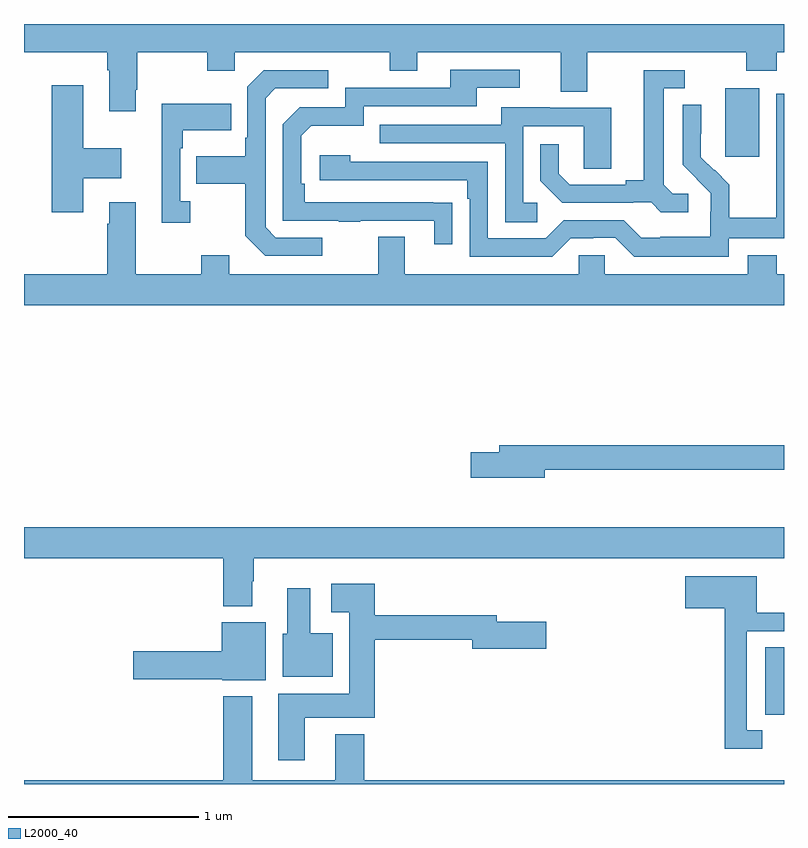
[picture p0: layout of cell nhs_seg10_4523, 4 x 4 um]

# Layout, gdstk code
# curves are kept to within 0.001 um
import gdstk
lib = gdstk.Library(unit=1e-6, precision=1e-09)
def R(c, l, rs):  # rectangles x0, y0, x1, y1
    for r in rs: c.add(gdstk.rectangle(r[:2], r[2:], *l))
def P(c, l, *ps):  # polygons
    for p in ps: c.add(gdstk.Polygon(p, *l))
L2000_40 = (2000, 40)

nhs_seg10_4523 = lib.new_cell('nhs_seg10_4523')
R(nhs_seg10_4523, L2000_40, [(372.902,1260.864,373,1261.22), (372.692,1263.801,372.871,1264.162)])
P(nhs_seg10_4523, L2000_40, [(369.589,1264.153),(369.597,1264.153),(369.597,1264.352),(369.964,1264.352),(369.964,1264.253),(370.11,1264.253),(370.11,1264.352),(370.924,1264.352),(370.924,1264.253),(371.071,1264.253),(371.071,1264.352),(371.825,1264.352),(371.825,1264.144),(371.965,1264.144),(371.965,1264.352),(372.802,1264.352),(372.802,1264.253),(372.962,1264.253),(372.962,1264.352),(373,1264.352),(373,1264.5),(369,1264.5),(369,1264.352),(369.437,1264.352),(369.437,1264.256),(369.449,1264.256),(369.449,1264.041),(369.589,1264.041)],
  [(371.255,1263.56),(370.478,1263.561),(370.478,1263.658),(370.458,1263.658),(370.458,1263.912),(370.511,1263.965),(370.788,1263.965),(370.788,1264.068),(371.383,1264.068),(371.383,1264.164),(371.608,1264.164),(371.608,1264.26),(371.243,1264.26),(371.243,1264.164),(370.692,1264.164),(370.692,1264.062),(370.452,1264.062),(370.362,1263.972),(370.362,1263.465),(370.657,1263.465),(370.657,1263.46),(370.769,1263.46),(370.769,1263.465),(371.159,1263.465),(371.159,1263.342),(371.255,1263.342)],
  [(372.496,1263.606),(372.414,1263.606),(372.367,1263.653),(372.367,1264.161),(372.478,1264.161),(372.478,1264.257),(372.263,1264.257),(372.263,1263.677),(372.167,1263.677),(372.167,1263.654),(371.872,1263.654),(371.815,1263.711),(371.815,1263.868),(371.718,1263.868),(371.718,1263.674),(371.834,1263.558),(372.206,1263.558),(372.206,1263.561),(372.3,1263.561),(372.352,1263.509),(372.496,1263.509)],
  [(370.57,1263.375),(370.326,1263.375),(370.272,1263.429),(370.272,1264.11),(370.323,1264.161),(370.6,1264.161),(370.6,1264.257),(370.263,1264.257),(370.176,1264.17),(370.176,1263.901),(370.164,1263.901),(370.164,1263.805),(369.907,1263.805),(369.907,1263.658),(370.164,1263.658),(370.164,1263.385),(370.269,1263.279),(370.57,1263.279)],
  [(369.313,1263.689),(369.511,1263.689),(369.511,1263.847),(369.313,1263.847),(369.313,1264.177),(369.146,1264.177),(369.146,1263.51),(369.313,1263.51)],
  [(372.708,1263.372),(373,1263.372),(373,1264.134),(372.96,1264.134),(372.96,1263.704),(372.958,1263.704),(372.958,1263.481),(372.713,1263.481),(372.713,1263.655),(372.636,1263.732),(372.633,1263.729),(372.563,1263.8),(372.564,1264.076),(372.468,1264.076),(372.468,1263.758),(372.614,1263.61),(372.614,1263.513),(372.612,1263.513),(372.612,1263.379),(372.349,1263.379),(372.349,1263.375),(372.249,1263.375),(372.156,1263.468),(371.841,1263.468),(371.745,1263.372),(371.442,1263.372),(371.442,1263.774),(370.718,1263.774),(370.718,1263.808),(370.557,1263.808),(370.557,1263.678),(371.333,1263.678),(371.333,1263.581),(371.346,1263.581),(371.346,1263.276),(371.781,1263.276),(371.877,1263.372),(371.996,1263.372),(371.996,1263.375),(372.111,1263.375),(372.211,1263.275),(372.708,1263.275)],
  [(369.874,1263.566),(369.822,1263.566),(369.822,1263.845),(369.835,1263.845),(369.835,1263.941),(370.091,1263.941),(370.091,1264.081),(369.725,1264.081),(369.725,1263.453),(369.874,1263.453)],
  [(371.701,1263.558),(371.628,1263.558),(371.628,1263.963),(371.946,1263.963),(371.946,1263.739),(372.091,1263.739),(372.091,1264.059),(371.767,1264.059),(371.767,1264.063),(371.513,1264.063),(371.513,1263.969),(370.873,1263.969),(370.873,1263.873),(371.532,1263.873),(371.532,1263.457),(371.701,1263.457)],
  [(373,1263.184),(372.962,1263.184),(372.962,1263.283),(372.809,1263.283),(372.809,1263.184),(372.057,1263.184),(372.057,1263.282),(371.919,1263.282),(371.919,1263.184),(371.005,1263.184),(371.005,1263.379),(370.865,1263.379),(370.865,1263.184),(370.081,1263.184),(370.081,1263.283),(369.934,1263.283),(369.934,1263.184),(369.589,1263.184),(369.589,1263.562),(369.449,1263.562),(369.449,1263.449),(369.437,1263.449),(369.437,1263.184),(369,1263.184),(369,1263.02),(373,1263.02)],
  [(371.74,1262.154),(373,1262.154),(373,1262.282),(371.501,1262.282),(371.501,1262.246),(371.352,1262.246),(371.352,1262.111),(371.74,1262.111)],
  [(370.201,1261.568),(370.209,1261.568),(370.209,1261.688),(373,1261.688),(373,1261.852),(369,1261.852),(369,1261.688),(370.049,1261.688),(370.049,1261.436),(370.201,1261.436)],
  [(372.886,1260.783),(372.804,1260.783),(372.804,1261.305),(373,1261.305),(373,1261.401),(372.856,1261.401),(372.856,1261.594),(372.48,1261.594),(372.48,1261.424),(372.688,1261.424),(372.688,1260.686),(372.886,1260.686)],
  [(370.477,1260.848),(370.847,1260.848),(370.847,1261.258),(371.36,1261.258),(371.36,1261.211),(371.749,1261.211),(371.749,1261.353),(371.488,1261.353),(371.488,1261.387),(370.847,1261.387),(370.847,1261.555),(370.617,1261.555),(370.617,1261.403),(370.712,1261.403),(370.712,1260.976),(370.337,1260.976),(370.337,1260.624),(370.477,1260.624)],
  [(370.624,1261.294),(370.507,1261.294),(370.507,1261.531),(370.385,1261.531),(370.385,1261.29),(370.361,1261.29),(370.361,1261.064),(370.624,1261.064)],
  [(370.273,1261.351),(370.04,1261.351),(370.04,1261.199),(369.576,1261.199),(369.576,1261.052),(370.044,1261.052),(370.044,1261.046),(370.273,1261.046)],
  [(373,1260.52),(370.79,1260.52),(370.79,1260.763),(370.637,1260.763),(370.637,1260.52),(370.201,1260.52),(370.201,1260.961),(370.049,1260.961),(370.049,1260.52),(369,1260.52),(369,1260.5),(373,1260.5)])

lib.write_gds('nhs_seg10_4523.gds')
